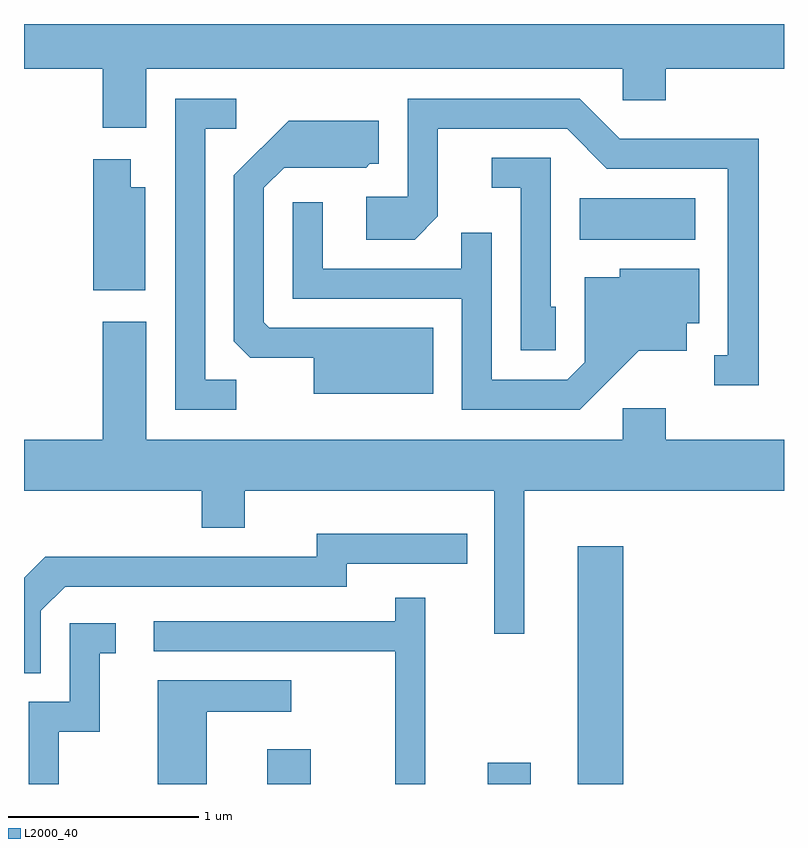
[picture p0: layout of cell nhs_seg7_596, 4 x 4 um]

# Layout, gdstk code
import gdstk
lib = gdstk.Library(unit=1e-6, precision=1e-09)
def R(c, l, rs):  # rectangles x0, y0, x1, y1
    for r in rs: c.add(gdstk.rectangle(r[:2], r[2:], *l))
def P(c, l, *ps):  # polygons
    for p in ps: c.add(gdstk.Polygon(p, *l))
L2000_40 = (2000, 40)

nhs_seg7_596 = lib.new_cell('nhs_seg7_596')
R(nhs_seg7_596, L2000_40, [(202.891,1788.252,203.119,1788.434), (204.051,1788.252,204.279,1788.364), (204.526,1788.252,204.764,1789.504), (204.536,1791.116,205.144,1791.334)])
P(nhs_seg7_596, L2000_40, [(202.254,1792.016),(204.761,1792.016),(204.761,1791.851),(204.989,1791.851),(204.989,1792.016),(205.611,1792.016),(205.611,1792.252),(201.611,1792.252),(201.611,1792.016),(202.026,1792.016),(202.026,1791.706),(202.254,1791.706)],
  [(202.728,1790.379),(202.564,1790.379),(202.564,1791.701),(202.728,1791.701),(202.728,1791.859),(202.406,1791.859),(202.406,1790.221),(202.728,1790.221)],
  [(205.479,1791.649),(204.747,1791.649),(204.537,1791.859),(203.631,1791.859),(203.631,1791.344),(203.411,1791.344),(203.411,1791.116),(203.667,1791.116),(203.789,1791.239),(203.789,1791.701),(204.469,1791.701),(204.679,1791.491),(205.316,1791.491),(205.316,1790.509),(205.243,1790.509),(205.243,1790.351),(205.479,1790.351)],
  [(203.764,1790.654),(202.902,1790.654),(202.874,1790.682),(202.874,1791.389),(202.982,1791.496),(203.412,1791.496),(203.432,1791.516),(203.479,1791.516),(203.479,1791.744),(203.004,1791.744),(202.716,1791.457),(202.716,1790.582),(202.802,1790.496),(203.136,1790.496),(203.136,1790.306),(203.764,1790.306)],
  [(204.409,1790.764),(204.384,1790.764),(204.384,1791.549),(204.073,1791.549),(204.073,1791.391),(204.226,1791.391),(204.226,1790.536),(204.409,1790.536)],
  [(202.249,1791.394),(202.174,1791.394),(202.174,1791.539),(201.976,1791.539),(201.976,1790.851),(202.249,1790.851)],
  [(204.847,1790.531),(205.099,1790.531),(205.099,1790.676),(205.164,1790.676),(205.164,1790.964),(204.746,1790.964),(204.746,1790.919),(204.561,1790.919),(204.561,1790.472),(204.469,1790.379),(204.074,1790.379),(204.074,1791.153),(203.911,1791.153),(203.911,1790.964),(203.184,1790.964),(203.184,1791.313),(203.026,1791.313),(203.026,1790.806),(203.916,1790.806),(203.916,1790.221),(204.537,1790.221)],
  [(204.244,1789.796),(205.611,1789.796),(205.611,1790.064),(204.989,1790.064),(204.989,1790.229),(204.761,1790.229),(204.761,1790.064),(202.254,1790.064),(202.254,1790.684),(202.026,1790.684),(202.026,1790.064),(201.611,1790.064),(201.611,1789.796),(202.546,1789.796),(202.546,1789.601),(202.774,1789.601),(202.774,1789.796),(204.086,1789.796),(204.086,1789.043),(204.244,1789.043)],
  [(201.699,1789.164),(201.827,1789.291),(203.309,1789.291),(203.309,1789.411),(203.943,1789.411),(203.943,1789.569),(203.151,1789.569),(203.151,1789.449),(201.724,1789.449),(201.611,1789.337),(201.611,1788.836),(201.699,1788.836)],
  [(203.724,1789.233),(203.566,1789.233),(203.566,1789.109),(202.293,1789.109),(202.293,1788.951),(203.566,1788.951),(203.566,1788.252),(203.724,1788.252)],
  [(201.794,1788.526),(202.009,1788.526),(202.009,1788.941),(202.093,1788.941),(202.093,1789.099),(201.851,1789.099),(201.851,1788.684),(201.636,1788.684),(201.636,1788.252),(201.794,1788.252)],
  [(202.574,1788.631),(203.018,1788.631),(203.018,1788.799),(202.316,1788.799),(202.316,1788.252),(202.574,1788.252)])

lib.write_gds('nhs_seg7_596.gds')
